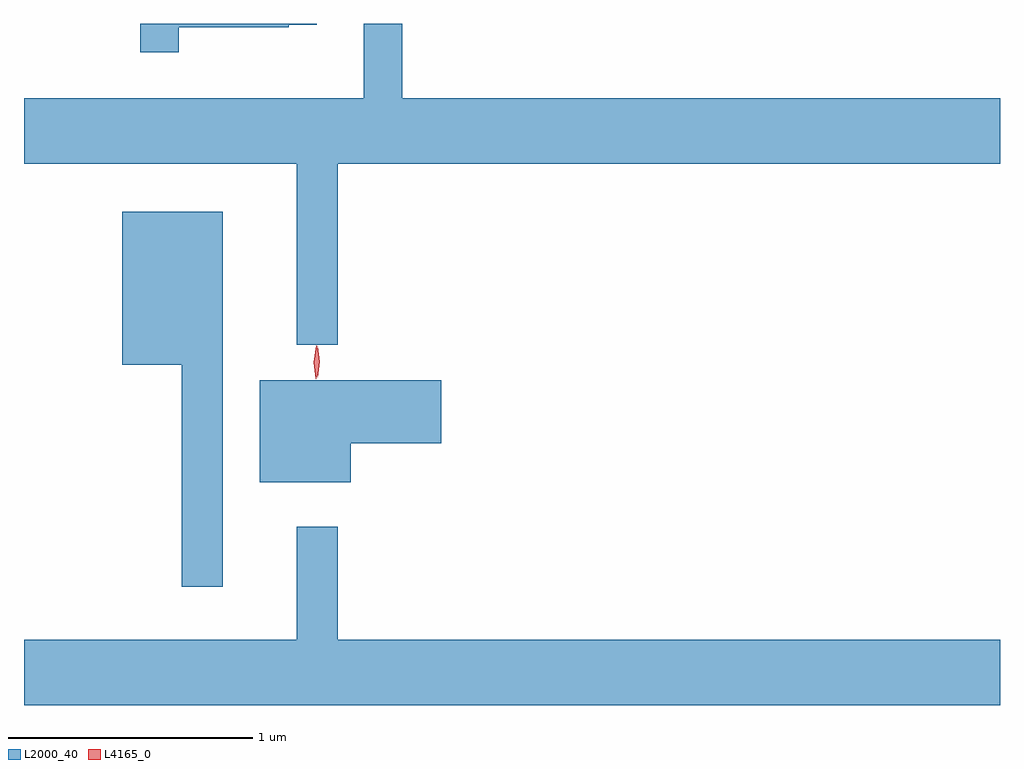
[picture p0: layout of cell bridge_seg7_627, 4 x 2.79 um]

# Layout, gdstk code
import gdstk
lib = gdstk.Library(unit=1e-6, precision=1e-09)
def P(c, l, *ps):  # polygons
    for p in ps: c.add(gdstk.Polygon(p, *l))
L2000_40 = (2000, 40)
L4165_0 = (4165, 0)

bridge_seg7_627 = lib.new_cell('bridge_seg7_627')
P(bridge_seg7_627, L2000_40, [(716.419,1700.996),(719.134,1700.996),(719.134,1701.264),(716.684,1701.264),(716.684,1701.57),(716.526,1701.57),(716.526,1701.264),(715.134,1701.264),(715.134,1700.996),(716.251,1700.996),(716.251,1700.253),(716.419,1700.253)],
  [(715.769,1701.556),(716.22,1701.556),(716.22,1701.566),(716.334,1701.566),(716.334,1701.57),(715.611,1701.57),(715.611,1701.453),(715.769,1701.453)],
  [(715.949,1700.799),(715.536,1700.799),(715.536,1700.171),(715.781,1700.171),(715.781,1699.263),(715.949,1699.263)],
  [(716.474,1699.851),(716.844,1699.851),(716.844,1700.109),(716.101,1700.109),(716.101,1699.691),(716.474,1699.691)],
  [(719.134,1699.044),(716.419,1699.044),(716.419,1699.508),(716.251,1699.508),(716.251,1699.044),(715.134,1699.044),(715.134,1698.776),(719.134,1698.776)])
P(bridge_seg7_627, L4165_0, [(716.337,1700.12),(716.337,1700.12),(716.327,1700.184),(716.337,1700.246),(716.337,1700.247),(716.338,1700.246),(716.347,1700.184),(716.338,1700.12)],
  [(716.33,1700.114),(716.321,1700.182),(716.332,1700.25),(716.332,1700.25),(716.333,1700.25),(716.341,1700.182),(716.331,1700.114),(716.331,1700.114)])

lib.write_gds('bridge_seg7_627.gds')
